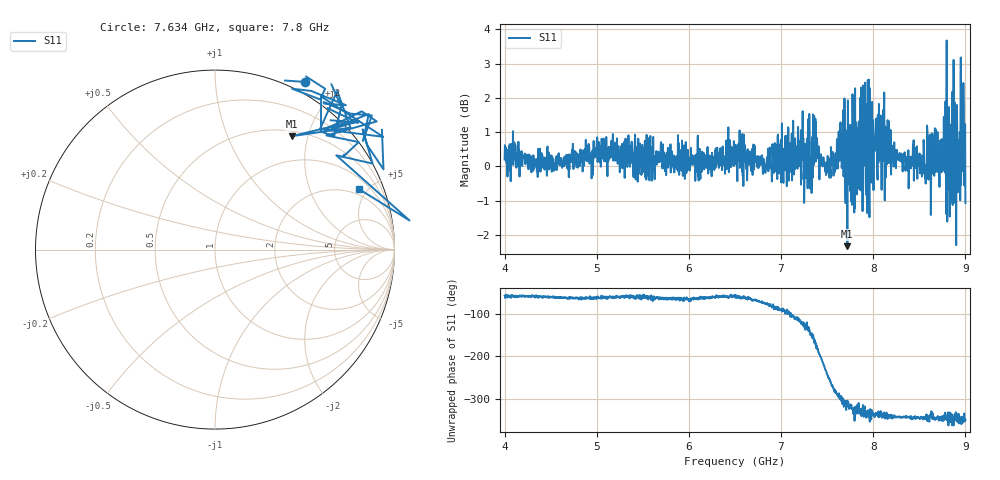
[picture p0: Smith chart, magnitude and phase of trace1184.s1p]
! Created with skrf 1.8.0 (http://scikit-rf.org).
# Hz S RI R 50.0
!freq ReS11 ImS11
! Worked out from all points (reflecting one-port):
!   1601 points, 4 GHz to 9 GHz, reference 50 ohm
!   lowest |S11| = -2.3 dB at 7.719 GHz (marker M1), VSWR 7.49, Z = 28.7 + j87.2 ohm
!   phase of S11 starts at -57 deg and turns -292 deg over the sweep
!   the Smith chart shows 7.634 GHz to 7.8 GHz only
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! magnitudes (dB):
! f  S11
! 4 GHz  0.2
! 4.625 GHz  0.0
! 5.25 GHz  -0.2
! 5.875 GHz  0.3
! 6.5 GHz  0.1
! 7.125 GHz  0.7
! 7.209 GHz  0.7
! 7.262 GHz  0.5
! 7.284 GHz  0.8
! 7.328 GHz  0.3
! 7.372 GHz  1.4
! 7.419 GHz  0.2
! 7.512 GHz  0.0
! 7.666 GHz  0.7
! 7.719 GHz  -2.3
! 7.75 GHz  0.6
! 7.769 GHz  -1.1
! 7.928 GHz  1.8
! 7.981 GHz  -0.5
! 8.097 GHz  0.3
! 8.375 GHz  0.2
! 8.766 GHz  1.4
! 8.8 GHz  1.3
! 8.856 GHz  -0.4
! 8.884 GHz  1.9
! 8.919 GHz  -0.3
! 8.972 GHz  1.3
! 9 GHz  -1.1
